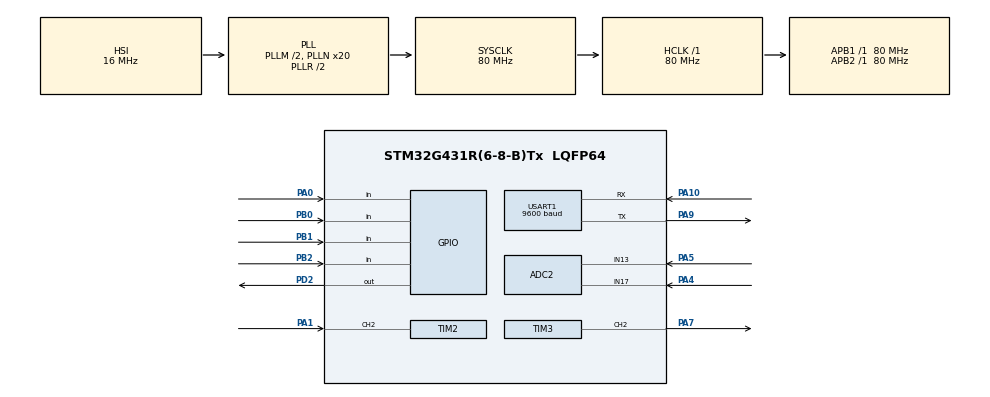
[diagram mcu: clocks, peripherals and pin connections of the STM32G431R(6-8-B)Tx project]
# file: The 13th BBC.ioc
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ADC2.Channel-0\#ChannelRegularConversion=ADC_CHANNEL_13
ADC2.Channel-1\#ChannelRegularConversion=ADC_CHANNEL_17
ADC2.ClockPrescaler=ADC_CLOCK_ASYNC_DIV2
ADC2.ContinuousConvMode=ENABLE
ADC2.DMAContinuousRequests=ENABLE
ADC2.EOCSelection=ADC_EOC_SINGLE_CONV
ADC2.NbrOfConversion=2
ADC2.NbrOfConversionFlag=1
ADC2.OffsetNumber-0\#ChannelRegularConversion=ADC_OFFSET_NONE
ADC2.OffsetNumber-1\#ChannelRegularConversion=ADC_OFFSET_NONE
ADC2.Rank-0\#ChannelRegularConversion=1
ADC2.Rank-1\#ChannelRegularConversion=2
ADC2.SamplingTime-0\#ChannelRegularConversion=ADC_SAMPLETIME_640CYCLES_5
ADC2.SamplingTime-1\#ChannelRegularConversion=ADC_SAMPLETIME_640CYCLES_5
Dma.ADC2.0.Direction=DMA_PERIPH_TO_MEMORY
Dma.ADC2.0.EventEnable=DISABLE
Dma.ADC2.0.Instance=DMA1_Channel1
Dma.ADC2.0.MemDataAlignment=DMA_MDATAALIGN_HALFWORD
Dma.ADC2.0.MemInc=DMA_MINC_ENABLE
Dma.ADC2.0.Mode=DMA_CIRCULAR
Dma.ADC2.0.PeriphDataAlignment=DMA_PDATAALIGN_HALFWORD
Dma.ADC2.0.PeriphInc=DMA_PINC_DISABLE
Dma.ADC2.0.Polarity=HAL_DMAMUX_REQ_GEN_RISING
Dma.ADC2.0.Priority=DMA_PRIORITY_LOW
Dma.ADC2.0.RequestNumber=1
Dma.ADC2.0.SignalID=NONE
Dma.ADC2.0.SyncEnable=DISABLE
Dma.ADC2.0.SyncPolarity=HAL_DMAMUX_SYNC_NO_EVENT
Dma.ADC2.0.SyncRequestNumber=1
Dma.ADC2.0.SyncSignalID=NONE
Dma.Request0=ADC2
Mcu.Family=STM32G4
Mcu.Name=STM32G431R(6-8-B)Tx
Mcu.Package=LQFP64
NVIC.ADC1_2_IRQn=true\:0\:0\:false\:false\:true\:true\:true\:true
NVIC.DMA1_Channel1_IRQn=true\:0\:0\:false\:false\:true\:false\:true\:true
NVIC.PriorityGroup=NVIC_PRIORITYGROUP_4
NVIC.TIM2_IRQn=true\:0\:0\:false\:false\:true\:true\:true\:true
NVIC.TIM3_IRQn=true\:0\:0\:false\:false\:true\:true\:true\:true
NVIC.USART1_IRQn=true\:1\:0\:true\:false\:true\:true\:true\:true
PA0.Signal=GPIO_Input
PA1.Signal=S_TIM2_CH2
PA10.Mode=Asynchronous
PA10.Signal=USART1_RX
PA13.Mode=Serial_Wire
PA13.Signal=SYS_JTMS-SWDIO
PA14.Mode=Serial_Wire
PA14.Signal=SYS_JTCK-SWCLK
PA4.Mode=IN17-Single-Ended
PA4.Signal=ADC2_IN17
PA5.Mode=IN13-Single-Ended
PA5.Signal=ADC2_IN13
PA7.Signal=S_TIM3_CH2
PA9.Mode=Asynchronous
PA9.Signal=USART1_TX
PB0.Signal=GPIO_Input
PB1.Signal=GPIO_Input
PB2.Signal=GPIO_Input
PD2.Signal=GPIO_Output
PF0-OSC_IN.Mode=HSE-External-Oscillator
PF0-OSC_IN.Signal=RCC_OSC_IN
PF1-OSC_OUT.Mode=HSE-External-Oscillator
PF1-OSC_OUT.Signal=RCC_OSC_OUT
ProjectManager.HeapSize=0x200
ProjectManager.StackSize=0x400
ProjectManager.TargetToolchain=MDK-ARM V5.32
RCC.ADC12Freq_Value=80000000
RCC.AHBFreq_Value=80000000
RCC.APB1Freq_Value=80000000
RCC.APB1TimFreq_Value=80000000
RCC.APB2Freq_Value=80000000
RCC.APB2TimFreq_Value=80000000
RCC.CortexFreq_Value=80000000
RCC.EXTERNAL_CLOCK_VALUE=12288000
RCC.HCLKFreq_Value=80000000
RCC.HSE_VALUE=24000000
RCC.HSI48_VALUE=48000000
RCC.HSI_VALUE=16000000
RCC.LSE_VALUE=32768
RCC.PLLM=RCC_PLLM_DIV2
RCC.PLLN=20
RCC.SYSCLKFreq_VALUE=80000000
RCC.SYSCLKSource=RCC_SYSCLKSOURCE_PLLCLK
RCC.USBFreq_Value=80000000
RCC.VCOOutputFreq_Value=160000000
SH.S_TIM2_CH2.0=TIM2_CH2,Input_Capture2_from_TI2
SH.S_TIM3_CH2.0=TIM3_CH2,PWM Generation2 CH2
TIM2.AutoReloadPreload=TIM_AUTORELOAD_PRELOAD_ENABLE
TIM2.Channel-Input_Capture2_from_TI2=TIM_CHANNEL_2
TIM2.Prescaler=80-1
TIM3.AutoReloadPreload=TIM_AUTORELOAD_PRELOAD_ENABLE
TIM3.Channel-PWM\ Generation2\ CH2=TIM_CHANNEL_2
TIM3.PeriodNoDither=1000-1
TIM3.Prescaler=80-1
TIM3.PulseNoDither_2=500
USART1.BaudRate=9600
USART1.VirtualMode-Asynchronous=VM_ASYNC
VP_SYS_VS_DBSignals.Mode=DisableDeadBatterySignals
VP_TIM2_VS_ClockSourceINT.Mode=Internal
VP_TIM3_VS_ClockSourceINT.Mode=Internal
board=custom

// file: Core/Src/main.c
/* USER CODE BEGIN Header */
/**
  ******************************************************************************
  * @file           : main.c
  * @brief          : Main program body
  ******************************************************************************
  * @attention
  *
  * Copyright (c) 2024 STMicroelectronics.
  * All rights reserved.
  *
  * This software is licensed under terms that can be found in the LICENSE file
  * in the root directory of this software component.
  * If no LICENSE file comes with this software, it is provided AS-IS.
  *
  ******************************************************************************
  */
/* USER CODE END Header */
#include "main.h"
#include "adc.h"
#include "dma.h"
#include "tim.h"
#include "usart.h"
#include "gpio.h"

/* USER CODE BEGIN Includes */
#include "lcd.h"
#include "stdio.h"
#include "string.h"
#include "led.h"
#include "key.h"
#include "i2c_hal.h"
/* USER CODE END Includes */

/* USER CODE BEGIN PV */

uint8_t lcd_str[22];

uint8_t lcd_flag=0;
float PA4,PA5,A4,A5,T4,T5,H4,H5,sum4,sum5;
int PA1;
uint8_t X=1,Y=1,N4,N5;
uint8_t key_val,key_down,key_up,key_old;
uint32_t count;
uint16_t ADC[2];

__IO uint32_t key_tick;

uint8_t str1[4]={0x01,0x22,0x33};
uint8_t str2[4]={0};

uint8_t mode_flag=0;
uint8_t led=0x00;
uint8_t clear_flag=0;
uint8_t led_flag=0;
uint8_t direct_flag=0;
uint8_t rx;
char uart_str[50];
char tx_str[50];
/* USER CODE END PV */

void SystemClock_Config(void);
/* USER CODE BEGIN PFP */
void lcd_proc(void);
void key_proc(void);

void get_ADC(void);
void led_proc(void);
void clear_proc(void);
/* USER CODE END PFP */

int main(void)
{

  /* MCU Configuration--------------------------------------------------------*/

  /* Reset of all peripherals, Initializes the Flash interface and the Systick. */
  HAL_Init();

  /* Configure the system clock */
  SystemClock_Config();

  /* Initialize all configured peripherals */
  MX_GPIO_Init();
  MX_DMA_Init();
  MX_ADC2_Init();
  MX_TIM2_Init();
  MX_TIM3_Init();
  MX_USART1_UART_Init();
  /* USER CODE BEGIN 2 */
  LCD_Init();
  LCD_Clear(Black);
  LCD_SetBackColor(Black);
  LCD_SetTextColor(White);

  led_disp(0x00);

  HAL_TIM_Base_Start_IT(&htim2);
  HAL_TIM_IC_Start_IT(&htim2,TIM_CHANNEL_2);

  HAL_TIM_PWM_Start(&htim3,TIM_CHANNEL_2);

  HAL_ADC_Start_DMA(&hadc2,(uint32_t*)ADC,4);

  I2CInit();
//  write(str1,0,4);
//  HAL_Delay(100);
//  read(str2,0,4);
  read(&Y,0,1);
  read(&X,1,1);

  HAL_UART_Receive_IT(&huart1,&rx,1);

  /* USER CODE END 2 */

  /* Infinite loop */
  /* USER CODE BEGIN WHILE */
  while (1)
  {

	  lcd_proc();
	  key_proc();
	  led_proc();
	  clear_proc();
	  if(mode_flag==0)
	  {
		  __HAL_TIM_SET_AUTORELOAD(&htim3,80000000/80/(X*PA1));
		  __HAL_TIM_SET_COMPARE(&htim3,TIM_CHANNEL_2,80000000/80/(X*PA1)*0.5);
	  }
	  else
	  {
		  __HAL_TIM_SET_AUTORELOAD(&htim3,80000000/80/(PA1/X));
		  __HAL_TIM_SET_COMPARE(&htim3,TIM_CHANNEL_2,80000000/80/(PA1/X)*0.5);
	  }
	  if(mode_flag==0)
		{
			led = led & 0xFD;
			led = led | 0x01;
		}
		else
		{
			led = led & 0xFE;
			led = led | 0x02;
		}
		if(direct_flag==0)
		{
			 LCD_WriteReg(R1, 0x0000);
			LCD_WriteReg(R96, 0x2700);
		}
		else
		{
			LCD_WriteReg(R1, 0x0100);
			LCD_WriteReg(R96, 0xA700);
		}
		  led_disp(led);

		if(N4==1)
		{
			A4=PA4;
			T4=PA4;
		}
		else if(N4>1)
		{
			if(PA4>A4)A4=PA4;
			if(PA4<T4)T4=PA4;
		}

			if(N5==1)
		{
			A5=PA5;
			T5=PA5;
		}
		else if(N5>1)
		{
			if(PA5>A5)A5=PA5;
			if(PA5<T5)T5=PA5;
		}

//		get_ADC();

    /* USER CODE END WHILE */

  }
}

void SystemClock_Config(void)
{
  RCC_OscInitTypeDef RCC_OscInitStruct = {0};
  RCC_ClkInitTypeDef RCC_ClkInitStruct = {0};

  /** Configure the main internal regulator output voltage
  */
  HAL_PWREx_ControlVoltageScaling(PWR_REGULATOR_VOLTAGE_SCALE1);

  /** Initializes the RCC Oscillators according to the specified parameters
  * in the RCC_OscInitTypeDef structure.
  */
  RCC_OscInitStruct.OscillatorType = RCC_OSCILLATORTYPE_HSI;
  RCC_OscInitStruct.HSIState = RCC_HSI_ON;
  RCC_OscInitStruct.HSICalibrationValue = RCC_HSICALIBRATION_DEFAULT;
  RCC_OscInitStruct.PLL.PLLState = RCC_PLL_ON;
  RCC_OscInitStruct.PLL.PLLSource = RCC_PLLSOURCE_HSI;
  RCC_OscInitStruct.PLL.PLLM = RCC_PLLM_DIV2;
  RCC_OscInitStruct.PLL.PLLN = 20;
  RCC_OscInitStruct.PLL.PLLP = RCC_PLLP_DIV2;
  RCC_OscInitStruct.PLL.PLLQ = RCC_PLLQ_DIV2;
  RCC_OscInitStruct.PLL.PLLR = RCC_PLLR_DIV2;
  if (HAL_RCC_OscConfig(&RCC_OscInitStruct) != HAL_OK)
  {
    Error_Handler();
  }

  /** Initializes the CPU, AHB and APB buses clocks
  */
  RCC_ClkInitStruct.ClockType = RCC_CLOCKTYPE_HCLK|RCC_CLOCKTYPE_SYSCLK
                              |RCC_CLOCKTYPE_PCLK1|RCC_CLOCKTYPE_PCLK2;
  RCC_ClkInitStruct.SYSCLKSource = RCC_SYSCLKSOURCE_PLLCLK;
  RCC_ClkInitStruct.AHBCLKDivider = RCC_SYSCLK_DIV1;
  RCC_ClkInitStruct.APB1CLKDivider = RCC_HCLK_DIV1;
  RCC_ClkInitStruct.APB2CLKDivider = RCC_HCLK_DIV1;

  if (HAL_RCC_ClockConfig(&RCC_ClkInitStruct, FLASH_LATENCY_2) != HAL_OK)
  {
    Error_Handler();
  }
}

/* USER CODE BEGIN 4 */
void HAL_UART_RxCpltCallback(UART_HandleTypeDef *huart)
{
	static uint8_t i;
	if(rx=='X')
	{
		sprintf(tx_str,"X:%d",X);HAL_UART_Transmit(&huart1,(uint8_t*)tx_str,strlen(tx_str),50);
	}
	else if(rx=='Y'){
		sprintf(tx_str,"Y:%d",Y);HAL_UART_Transmit(&huart1,(uint8_t*)tx_str,strlen(tx_str),50);}
	else if(rx=='#')
	{
		LCD_Clear(Black);
		direct_flag = ~direct_flag;
	}
	else if(rx=='P')
	{
		uart_str[0]=rx;
		i=1;
	}
	else
	{
		uart_str[i]=rx;i++;
	}
	if(i>=3)
	{
		if((uart_str[1]=='A')&(uart_str[0]=='P'))
		{
			if(uart_str[2]=='1')
			{
				sprintf(tx_str,"PA1:%d",PA1);HAL_UART_Transmit(&huart1,(uint8_t*)tx_str,strlen(tx_str),50);}
			else if(uart_str[2]=='4')
			{
				sprintf(tx_str,"PA4:%.2f",PA4);HAL_UART_Transmit(&huart1,(uint8_t*)tx_str,strlen(tx_str),50);}
			else if(uart_str[2]=='5')
			{
				sprintf(tx_str,"PA5:%.2f",PA5);HAL_UART_Transmit(&huart1,(uint8_t*)tx_str,strlen(tx_str),50);}
		}
		i=0;
	}

//	if(rx=='a')
//		sprintf(uart_str,"hello");
//	else
//		sprintf(uart_str,"error");
//	HAL_UART_Transmit(&huart1,(uint8_t*)tx_str,strlen(tx_str),50);
	 HAL_UART_Receive_IT(&huart1,&rx,1);
}

void led_proc(void)
{
	static __IO uint32_t tick;
	if(uwTick-tick<100)return;
	tick = uwTick;

	if(PA4>PA5*Y)
	{
		if(led_flag==0)
		{
			led_flag=1;
			led=led|0x04;

		}
		else
		{
			led_flag=0;
			led=led&0xFB;
		}
	}
	else
		led=led&0xFB;

}
void get_ADC(void)
{
//	uint16_t adc;
//
//	HAL_ADC_Start(&hadc2);
//	adc=HAL_ADC_GetValue(&hadc2);
//	PA4 = 3.3*adc/4096;
	PA4 = 3.3*ADC[1]/4096;
	PA5 = 3.3*ADC[0]/4096;
}
void HAL_TIM_IC_CaptureCallback(TIM_HandleTypeDef *htim)
{
	if(htim->Instance==TIM2)
	{
		count=HAL_TIM_ReadCapturedValue(htim,TIM_CHANNEL_2)+1;
		PA1=80000000/80/count;
		if(PA1>10000) PA1=10000;
		else if(PA1<100) PA1=100;
		__HAL_TIM_SetCounter(htim,0);
	}

}

void clear_proc(void)
{
	if(uwTick-key_tick>1000)
		clear_flag=0;

}
void key_proc(void)
{
	static __IO uint32_t tick;
	if(uwTick-tick<50)return;
	tick = uwTick;

	key_val =key_scan();
	key_down = key_val&(key_val^key_old);
	key_up = ~key_val&(key_val^key_old);
	key_old = key_val;
	sprintf((char*)lcd_str,"hello:%d",key_down);
	LCD_DisplayStringLine(Line0,lcd_str);
	switch(key_down)
	{
		case 1:
			LCD_Clear(Black);
			if(lcd_flag<2) lcd_flag++;
			else lcd_flag=0;
		break;
		case 2:
			if(lcd_flag==1)
			{
				if(X<4)X++;
				else X=1;
				write(&X,1,1);
			}

		break;
		case 3:
			if(lcd_flag==1)
			{
				if(Y<4)Y++;
				else Y=1;
				write(&Y,0,1);
			}

		break;
		case 4:
			if(lcd_flag==2)
			{
				clear_flag=1;
				key_tick=uwTick;

			}
			else if(lcd_flag==3)
			{
				clear_flag=1;
				key_tick=uwTick;

			}
			else if(lcd_flag==0)
			{
				get_ADC();
				N4++;
				N5++;
				sum4=sum4+PA4;
				sum5=sum5+PA5;
				H4=sum4/N4;
				H5=sum5/N5;
			}
			else if(lcd_flag==1)
			{
					if(mode_flag==0)mode_flag=1;
        			else mode_flag=0;
			}

		break;

	}
	if(key_up==4)
	{
		if(uwTick-key_tick<1000)
		{
			if(lcd_flag==2)
			{
				lcd_flag=3;
			}
			else if(lcd_flag==3)
			{
				lcd_flag=2;
			}
			clear_flag=0;
		}
		else
		{
			if(lcd_flag==2)
			{
				N4=0;A4=0;

					T4=H4=0;
			}
			else if(lcd_flag==3)
			{
				T5=H5=0;A5=0;N5=0;
			}
			clear_flag=0;
		}
	}

	if(key_down)
	{
		sprintf((char*)lcd_str,"hello:%d",key_down);
		LCD_DisplayStringLine(Line0,lcd_str);
	}

}

void lcd_proc(void)
{
	static __IO uint32_t tick;
	if(uwTick-tick<200)return;
	tick = uwTick;

//
//	sprintf((char*)lcd_str,"E:%x,%x,%x,%x,%x,%x",str1[0],str1[1],str1[2],str2[0],str2[1],str2[2]);
//    LCD_DisplayStringLine(Line0,lcd_str);
//

	switch(lcd_flag)
	{
		case 0:
			sprintf((char*)lcd_str,"        DATA        ");
			LCD_DisplayStringLine(Line1,lcd_str);
			sprintf((char*)lcd_str,"     PA4=%.2f       ",PA4);
			LCD_DisplayStringLine(Line3,lcd_str);
			sprintf((char*)lcd_str,"     PA5=%.2f       ",PA5);
			LCD_DisplayStringLine(Line4,lcd_str);
			sprintf((char*)lcd_str,"     PA1=%d       ",PA1);
			LCD_DisplayStringLine(Line5,lcd_str);
		break;

		case 1:
			sprintf((char*)lcd_str,"        PARA        ");
			LCD_DisplayStringLine(Line1,lcd_str);
			sprintf((char*)lcd_str,"     X=%d       ",X);
			LCD_DisplayStringLine(Line3,lcd_str);
			sprintf((char*)lcd_str,"     Y=%d       ",Y);
			LCD_DisplayStringLine(Line4,lcd_str);
		break;
		case 2:
			sprintf((char*)lcd_str,"        REC-PA4    ");
			LCD_DisplayStringLine(Line1,lcd_str);
			sprintf((char*)lcd_str,"     N=%d       ",N4);
			LCD_DisplayStringLine(Line3,lcd_str);
			sprintf((char*)lcd_str,"     A=%.2f       ",A4);
			LCD_DisplayStringLine(Line4,lcd_str);
			sprintf((char*)lcd_str,"     T=%.2f       ",T4);
			LCD_DisplayStringLine(Line5,lcd_str);
			sprintf((char*)lcd_str,"     H=%.2f       ",H4);
			LCD_DisplayStringLine(Line6,lcd_str);
		break;
		case 3:
			sprintf((char*)lcd_str,"        REC-PA5    ");
			LCD_DisplayStringLine(Line1,lcd_str);
			sprintf((char*)lcd_str,"     N=%d       ",N5);
			LCD_DisplayStringLine(Line3,lcd_str);
			sprintf((char*)lcd_str,"     A=%.2f       ",A5);
			LCD_DisplayStringLine(Line4,lcd_str);
			sprintf((char*)lcd_str,"     T=%.2f       ",T5);
			LCD_DisplayStringLine(Line5,lcd_str);
			sprintf((char*)lcd_str,"     H=%.2f       ",H5);
			LCD_DisplayStringLine(Line6,lcd_str);
		break;

	}
//	sprintf((char*)lcd_str,"hello");
//	LCD_DisplayStringLine(Line0,lcd_str);
}
/* USER CODE END 4 */

void Error_Handler(void)
{
  __disable_irq();
  while (1)
  {
  }
}
